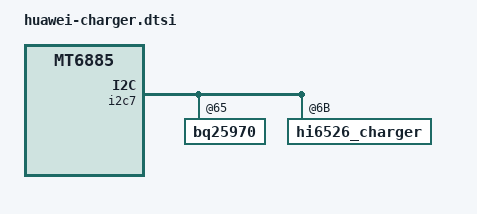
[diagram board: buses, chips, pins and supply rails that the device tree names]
#include "../huawei_charger/mt6885_abr_huawei_charger.dtsi"

&i2c7 {
	bq25970@65 {
		ic_role = <1>;
	};

	sm5450@6F {
		status = "disabled";
	};

	hi6526_charger@6B{
		status = "ok";
	};
};

&direct_charge_ic {
	ic_para1 =
		"0", "0", "0", "0", "0";
};

&direct_charger_sc {
	single_ic_ibat_th = <8000>;
	current_ratio =
		"3", "5", "20", "2", "-1",
		"3", "5", "20", "1", "8000",
		"0", "5", "20", "0", "0";
};
